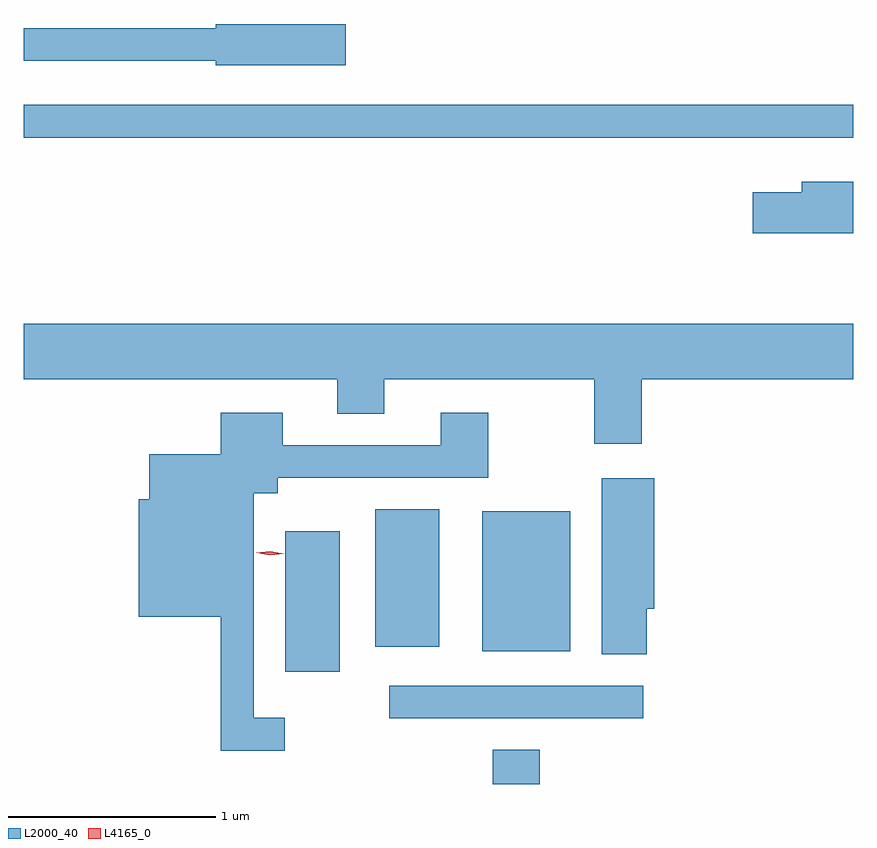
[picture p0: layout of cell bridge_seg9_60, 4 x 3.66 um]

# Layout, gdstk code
import gdstk
lib = gdstk.Library(unit=1e-6, precision=1e-09)
def R(c, l, rs):  # rectangles x0, y0, x1, y1
    for r in rs: c.add(gdstk.rectangle(r[:2], r[2:], *l))
def P(c, l, *ps):  # polygons
    for p in ps: c.add(gdstk.Polygon(p, *l))
L2000_40 = (2000, 40)
L4165_0 = (4165, 0)

bridge_seg9_60 = lib.new_cell('bridge_seg9_60')
R(bridge_seg9_60, L2000_40, [(1598.181,1978.765,1598.409,1978.929), (1597.683,1979.081,1598.908,1979.239), (1597.181,1979.306,1597.444,1979.984), (1598.131,1979.406,1598.554,1980.079), (1597.616,1979.426,1597.924,1980.089), (1595.92,1981.881,1599.92,1982.039)])
P(bridge_seg9_60, L2000_40, [(1597.474,1982.429),(1596.846,1982.429),(1596.846,1982.409),(1595.92,1982.409),(1595.92,1982.251),(1596.846,1982.251),(1596.846,1982.231),(1597.474,1982.231)],
  [(1599.92,1981.669),(1599.671,1981.669),(1599.671,1981.619),(1599.436,1981.619),(1599.436,1981.421),(1599.92,1981.421)],
  [(1598.899,1980.716),(1599.92,1980.716),(1599.92,1980.984),(1595.92,1980.984),(1595.92,1980.716),(1597.431,1980.716),(1597.431,1980.551),(1597.659,1980.551),(1597.659,1980.716),(1598.671,1980.716),(1598.671,1980.406),(1598.899,1980.406)],
  [(1597.178,1979.084),(1597.029,1979.084),(1597.029,1980.166),(1597.144,1980.166),(1597.144,1980.241),(1598.159,1980.241),(1598.159,1980.554),(1597.931,1980.554),(1597.931,1980.399),(1597.169,1980.399),(1597.169,1980.554),(1596.871,1980.554),(1596.871,1980.354),(1596.526,1980.354),(1596.526,1980.139),(1596.476,1980.139),(1596.476,1979.571),(1596.871,1979.571),(1596.871,1978.926),(1597.178,1978.926)],
  [(1598.924,1979.611),(1598.959,1979.611),(1598.959,1980.239),(1598.706,1980.239),(1598.706,1979.391),(1598.924,1979.391)])
P(bridge_seg9_60, L4165_0, [(1597.108,1979.867),(1597.042,1979.879),(1597.041,1979.879),(1597.042,1979.88),(1597.108,1979.887),(1597.174,1979.876),(1597.175,1979.876),(1597.174,1979.875)])

lib.write_gds('bridge_seg9_60.gds')
